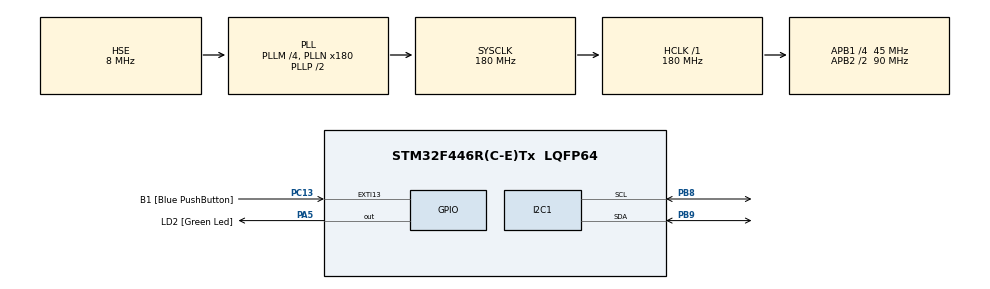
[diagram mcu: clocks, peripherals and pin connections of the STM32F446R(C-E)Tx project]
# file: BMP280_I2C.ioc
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I2C1.I2C_Mode=I2C_Fast
Mcu.Family=STM32F4
Mcu.Name=STM32F446R(C-E)Tx
Mcu.Package=LQFP64
NVIC.PriorityGroup=NVIC_PRIORITYGROUP_0
PA13.GPIO_Label=TMS
PA13.Mode=Serial_Wire
PA13.Signal=SYS_JTMS-SWDIO
PA14.GPIO_Label=TCK
PA14.Mode=Serial_Wire
PA14.Signal=SYS_JTCK-SWCLK
PA2.GPIO_Label=USART_TX
PA2.Signal=USART2_TX
PA3.GPIO_Label=USART_RX
PA3.Signal=USART2_RX
PA5.GPIO_Label=LD2 [Green Led]
PA5.Signal=GPIO_Output
PB3.GPIO_Label=SWO
PB3.Signal=SYS_JTDO-SWO
PB8.Mode=I2C
PB8.Signal=I2C1_SCL
PB9.Mode=I2C
PB9.Signal=I2C1_SDA
PC13.GPIO_Label=B1 [Blue PushButton]
PC13.GPIO_ModeDefaultEXTI=GPIO_MODE_IT_FALLING
PC13.Signal=GPXTI13
PC14-OSC32_IN.Signal=RCC_OSC32_IN
PC15-OSC32_OUT.Signal=RCC_OSC32_OUT
PH0-OSC_IN.Mode=HSE-External-Clock-Source
PH0-OSC_IN.Signal=RCC_OSC_IN
PH1-OSC_OUT.Mode=HSE-External-Clock-Source
PH1-OSC_OUT.Signal=RCC_OSC_OUT
ProjectManager.HeapSize=0x200
ProjectManager.StackSize=0x400
ProjectManager.TargetToolchain=STM32CubeIDE
RCC.AHBFreq_Value=180000000
RCC.APB1CLKDivider=RCC_HCLK_DIV4
RCC.APB1Freq_Value=45000000
RCC.APB1TimFreq_Value=90000000
RCC.APB2CLKDivider=RCC_HCLK_DIV2
RCC.APB2Freq_Value=90000000
RCC.APB2TimFreq_Value=180000000
RCC.CortexFreq_Value=180000000
RCC.FLatency-AdvancedSettings=FLASH_LATENCY_5
RCC.HCLKFreq_Value=180000000
RCC.HSE_VALUE=8000000
RCC.HSI_VALUE=16000000
RCC.LSE_VALUE=32768
RCC.PLLM=4
RCC.PLLN=180
RCC.PLLSourceVirtual=RCC_PLLSOURCE_HSE
RCC.SYSCLKFreq_VALUE=180000000
RCC.SYSCLKSource=RCC_SYSCLKSOURCE_PLLCLK
RCC.USBFreq_Value=180000000
RCC.VCOOutputFreq_Value=360000000
board=NUCLEO-F446RE

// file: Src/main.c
/* USER CODE BEGIN Header */
/**
  ******************************************************************************
  * @file           : main.c
  * @brief          : Main program body
  ******************************************************************************
  * @attention
  *
  * <h2><center>&copy; Copyright (c) 2019 STMicroelectronics.
  * All rights reserved.</center></h2>
  *
  * This software component is licensed by ST under BSD 3-Clause license,
  * the "License"; You may not use this file except in compliance with the
  * License. You may obtain a copy of the License at:
  *                        opensource.org/licenses/BSD-3-Clause
  *
  ******************************************************************************
  */
/* USER CODE END Header */

#include "main.h"
#include "i2c.h"
#include "gpio.h"
#include "lcd.h"
#include "BMP280.h"
#include <stdio.h>
#include <string.h>
/* USER CODE BEGIN Includes */
#define qnh (1004)
//vars
double temp , pres , alt;
uint8_t com_result;
/* USER CODE END Includes */

void SystemClock_Config(void);

int main(void)
{

  /* MCU Configuration--------------------------------------------------------*/

  /* Reset of all peripherals, Initializes the Flash interface and the Systick. */
  HAL_Init();

  /* Configure the system clock */
  SystemClock_Config();

  /* Initialize all configured peripherals */
  MX_GPIO_Init();
  MX_I2C1_Init();
  LCD_Init();
  /* USER CODE BEGIN 2 */
  LCD_Printf("connecting to the sensors \n");
  HAL_Delay(1000);
  bmp280_t bmp280;
  bmp280.i2c_handle = &hi2c1;
  bmp280.dev_addr = BMP280_I2C_ADDRESS1;
  com_result = BMP280_init(&bmp280);
  com_result += BMP280_set_power_mode(BMP280_NORMAL_MODE);
  com_result += BMP280_set_work_mode(BMP280_STANDARD_RESOLUTION_MODE);
  com_result += BMP280_set_standby_durn(BMP280_STANDBY_TIME_1_MS);

  if(!com_result){
	  LCD_Printf("please check the connection \n");
	  return 0;
  }
  LCD_SetCursor(0, 0);
  LCD_Printf("the connection is established >> \n");
  HAL_Delay(2000);
  //reading
  BMP280_read_temperature_double(&temp);
  BMP280_read_pressure_double(&pres);
  alt  =  BMP280_calculate_altitude(qnh * 100);
  //LCD_SetCursor(0, 10);
  LCD_Printf("Temp : %+2d.%02d C\n", (int) temp, (int) (abs(temp * 100) % 100));
  LCD_Printf("Press: %6d Pa\n", (int) pres);
  LCD_Printf("Alt  : %+4d.%01d m", (int) alt, (int) (abs(alt * 10) % 10));

  /* USER CODE END 2 */

  /* Infinite loop */
  while (1)
  {

  }
}

void SystemClock_Config(void)
{
  RCC_OscInitTypeDef RCC_OscInitStruct = {0};
  RCC_ClkInitTypeDef RCC_ClkInitStruct = {0};

  /** Configure the main internal regulator output voltage
  */
  __HAL_RCC_PWR_CLK_ENABLE();
  __HAL_PWR_VOLTAGESCALING_CONFIG(PWR_REGULATOR_VOLTAGE_SCALE1);
  /** Initializes the CPU, AHB and APB busses clocks
  */
  RCC_OscInitStruct.OscillatorType = RCC_OSCILLATORTYPE_HSE;
  RCC_OscInitStruct.HSEState = RCC_HSE_BYPASS;
  RCC_OscInitStruct.PLL.PLLState = RCC_PLL_ON;
  RCC_OscInitStruct.PLL.PLLSource = RCC_PLLSOURCE_HSE;
  RCC_OscInitStruct.PLL.PLLM = 4;
  RCC_OscInitStruct.PLL.PLLN = 180;
  RCC_OscInitStruct.PLL.PLLP = RCC_PLLP_DIV2;
  RCC_OscInitStruct.PLL.PLLQ = 2;
  RCC_OscInitStruct.PLL.PLLR = 2;
  if (HAL_RCC_OscConfig(&RCC_OscInitStruct) != HAL_OK)
  {
    Error_Handler();
  }
  /** Activate the Over-Drive mode
  */
  if (HAL_PWREx_EnableOverDrive() != HAL_OK)
  {
    Error_Handler();
  }
  /** Initializes the CPU, AHB and APB busses clocks
  */
  RCC_ClkInitStruct.ClockType = RCC_CLOCKTYPE_HCLK|RCC_CLOCKTYPE_SYSCLK
                              |RCC_CLOCKTYPE_PCLK1|RCC_CLOCKTYPE_PCLK2;
  RCC_ClkInitStruct.SYSCLKSource = RCC_SYSCLKSOURCE_PLLCLK;
  RCC_ClkInitStruct.AHBCLKDivider = RCC_SYSCLK_DIV1;
  RCC_ClkInitStruct.APB1CLKDivider = RCC_HCLK_DIV4;
  RCC_ClkInitStruct.APB2CLKDivider = RCC_HCLK_DIV2;

  if (HAL_RCC_ClockConfig(&RCC_ClkInitStruct, FLASH_LATENCY_5) != HAL_OK)
  {
    Error_Handler();
  }
}

void Error_Handler(void)
{
}

/************************ (C) COPYRIGHT STMicroelectronics *****END OF FILE****/
